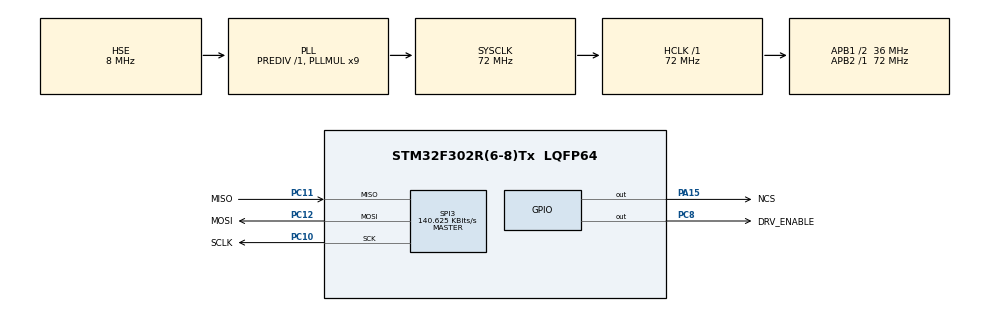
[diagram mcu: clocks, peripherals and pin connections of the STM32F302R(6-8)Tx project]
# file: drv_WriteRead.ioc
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Mcu.Family=STM32F3
Mcu.Name=STM32F302R(6-8)Tx
Mcu.Package=LQFP64
NVIC.PriorityGroup=NVIC_PRIORITYGROUP_0
PA13.GPIO_Label=TMS
PA13.Mode=Serial_Wire
PA13.Signal=SYS_JTMS-SWDIO
PA14.GPIO_Label=TCK
PA14.Mode=Serial_Wire
PA14.Signal=SYS_JTCK-SWCLK
PA15.GPIO_Label=NCS
PA15.GPIO_Speed=GPIO_SPEED_FREQ_LOW
PA15.Signal=GPIO_Output
PC10.GPIO_Label=SCLK
PC10.Mode=Full_Duplex_Master
PC10.Signal=SPI3_SCK
PC11.GPIO_Label=MISO
PC11.Mode=Full_Duplex_Master
PC11.Signal=SPI3_MISO
PC12.GPIO_Label=MOSI
PC12.Mode=Full_Duplex_Master
PC12.Signal=SPI3_MOSI
PC14\ -\ OSC32_IN.Mode=LSE-External-Clock-Source
PC14\ -\ OSC32_IN.Signal=RCC_OSC32_IN
PC8.GPIO_Label=DRV_ENABLE
PC8.Signal=GPIO_Output
PF0-OSC_IN.Mode=HSE-External-Oscillator
PF0-OSC_IN.Signal=RCC_OSC_IN
PF1-OSC_OUT.Mode=HSE-External-Oscillator
PF1-OSC_OUT.Signal=RCC_OSC_OUT
ProjectManager.HeapSize=0x200
ProjectManager.StackSize=0x400
ProjectManager.TargetToolchain=STM32CubeIDE
RCC.AHBFreq_Value=72000000
RCC.APB1CLKDivider=RCC_HCLK_DIV2
RCC.APB1Freq_Value=36000000
RCC.APB1TimFreq_Value=72000000
RCC.APB2Freq_Value=72000000
RCC.APB2TimFreq_Value=72000000
RCC.CortexFreq_Value=72000000
RCC.HCLKFreq_Value=72000000
RCC.HSE_VALUE=8000000
RCC.HSI_VALUE=8000000
RCC.LSE_VALUE=32768
RCC.PLLM=8
RCC.PLLMUL=RCC_PLL_MUL9
RCC.PLLN=336
RCC.PLLP=RCC_PLLP_DIV4
RCC.PLLQ=7
RCC.PLLSourceVirtual=RCC_PLLSOURCE_HSE
RCC.SYSCLKFreq_VALUE=72000000
RCC.SYSCLKSourceVirtual=RCC_SYSCLKSOURCE_PLLCLK
RCC.USBFreq_Value=72000000
SPI3.BaudRatePrescaler=SPI_BAUDRATEPRESCALER_256
SPI3.CLKPhase=SPI_PHASE_2EDGE
SPI3.CalculateBaudRate=140.625 KBits/s
SPI3.DataSize=SPI_DATASIZE_16BIT
SPI3.Direction=SPI_DIRECTION_2LINES
SPI3.Mode=SPI_MODE_MASTER
SPI3.TIMode=SPI_TIMODE_DISABLE
SPI3.VirtualType=VM_MASTER
board=NUCLEO-F302R8

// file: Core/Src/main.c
/* USER CODE BEGIN Header */
/**
  ******************************************************************************
  * @file           : main.c
  * @brief          : Main program body
  ******************************************************************************
  * @attention
  *
  * Copyright (c) 2026 STMicroelectronics.
  * All rights reserved.
  *
  * This software is licensed under terms that can be found in the LICENSE file
  * in the root directory of this software component.
  * If no LICENSE file comes with this software, it is provided AS-IS.
  *
  ******************************************************************************
  */
/* USER CODE END Header */
#include "main.h"
#include "spi.h"
#include "gpio.h"

/* USER CODE BEGIN PM */
#define DRV_CS_LOW() HAL_GPIO_WritePin(GPIOA, GPIO_PIN_15, RESET);
#define DRV_CS_HIGH() HAL_GPIO_WritePin(GPIOA, GPIO_PIN_15, SET);
/* USER CODE END PM */

/* USER CODE BEGIN PV */
uint16_t txData = 0;
uint16_t rxData = 0;
uint16_t value;

/* USER CODE END PV */

void SystemClock_Config(void);

/* USER CODE BEGIN 0 */
uint16_t DRV_ClearFault(void)
{
    txData = (1 << 15) | (0x00 << 11);

    DRV_CS_LOW();
    HAL_SPI_TransmitReceive(&hspi3, (uint8_t*)&txData, (uint8_t*)&rxData, 1, HAL_MAX_DELAY);
    DRV_CS_HIGH();

    DRV_CS_LOW();
    HAL_SPI_TransmitReceive(&hspi3, (uint8_t*)&txData, (uint8_t*)&rxData, 1, HAL_MAX_DELAY);
    DRV_CS_HIGH();

    return (rxData & 0x07FF);
}

void DRV_Write(uint8_t reg, uint16_t data)
{
    txData =  (0<<15) | (reg << 11) | (data & 0x07FF);   // Write
    DRV_CS_LOW();
    HAL_SPI_Transmit(&hspi3, (uint8_t*)&txData,1, HAL_MAX_DELAY);
    DRV_CS_HIGH();
}

uint16_t DRV_Read(uint16_t reg)
{
    txData = (1 << 15) | (reg << 11);                   // Read

    DRV_CS_LOW();
    HAL_SPI_TransmitReceive(&hspi3, (uint8_t*)&txData, (uint8_t*)&rxData,1, HAL_MAX_DELAY);
    DRV_CS_HIGH();

    DRV_CS_LOW();
    HAL_SPI_TransmitReceive(&hspi3, (uint8_t*)&txData, (uint8_t*)&rxData,1, HAL_MAX_DELAY);
    DRV_CS_HIGH();
    return (rxData & 0x07FF);
}

/* USER CODE END 0 */

int main(void)
{

  /* MCU Configuration--------------------------------------------------------*/

  /* Reset of all peripherals, Initializes the Flash interface and the Systick. */
  HAL_Init();

  /* Configure the system clock */
  SystemClock_Config();

  /* Initialize all configured peripherals */
  MX_GPIO_Init();
  MX_SPI3_Init();
  /* USER CODE BEGIN 2 */
  HAL_GPIO_WritePin(GPIOC,GPIO_PIN_8, SET);
  DRV_ClearFault();
  DRV_Write(0x06,0x3F1);
  HAL_Delay(1);
  value = DRV_Read(0x06);
  /* USER CODE END 2 */

  /* Infinite loop */
  while (1)
  {

  }
}

void SystemClock_Config(void)
{
  RCC_OscInitTypeDef RCC_OscInitStruct = {0};
  RCC_ClkInitTypeDef RCC_ClkInitStruct = {0};

  /** Initializes the RCC Oscillators according to the specified parameters
  * in the RCC_OscInitTypeDef structure.
  */
  RCC_OscInitStruct.OscillatorType = RCC_OSCILLATORTYPE_HSE;
  RCC_OscInitStruct.HSEState = RCC_HSE_ON;
  RCC_OscInitStruct.HSEPredivValue = RCC_HSE_PREDIV_DIV1;
  RCC_OscInitStruct.HSIState = RCC_HSI_ON;
  RCC_OscInitStruct.PLL.PLLState = RCC_PLL_ON;
  RCC_OscInitStruct.PLL.PLLSource = RCC_PLLSOURCE_HSE;
  RCC_OscInitStruct.PLL.PLLMUL = RCC_PLL_MUL9;
  if (HAL_RCC_OscConfig(&RCC_OscInitStruct) != HAL_OK)
  {
    Error_Handler();
  }

  /** Initializes the CPU, AHB and APB buses clocks
  */
  RCC_ClkInitStruct.ClockType = RCC_CLOCKTYPE_HCLK|RCC_CLOCKTYPE_SYSCLK
                              |RCC_CLOCKTYPE_PCLK1|RCC_CLOCKTYPE_PCLK2;
  RCC_ClkInitStruct.SYSCLKSource = RCC_SYSCLKSOURCE_PLLCLK;
  RCC_ClkInitStruct.AHBCLKDivider = RCC_SYSCLK_DIV1;
  RCC_ClkInitStruct.APB1CLKDivider = RCC_HCLK_DIV2;
  RCC_ClkInitStruct.APB2CLKDivider = RCC_HCLK_DIV1;

  if (HAL_RCC_ClockConfig(&RCC_ClkInitStruct, FLASH_LATENCY_2) != HAL_OK)
  {
    Error_Handler();
  }
}

void Error_Handler(void)
{
  __disable_irq();
  while (1)
  {
  }
}
